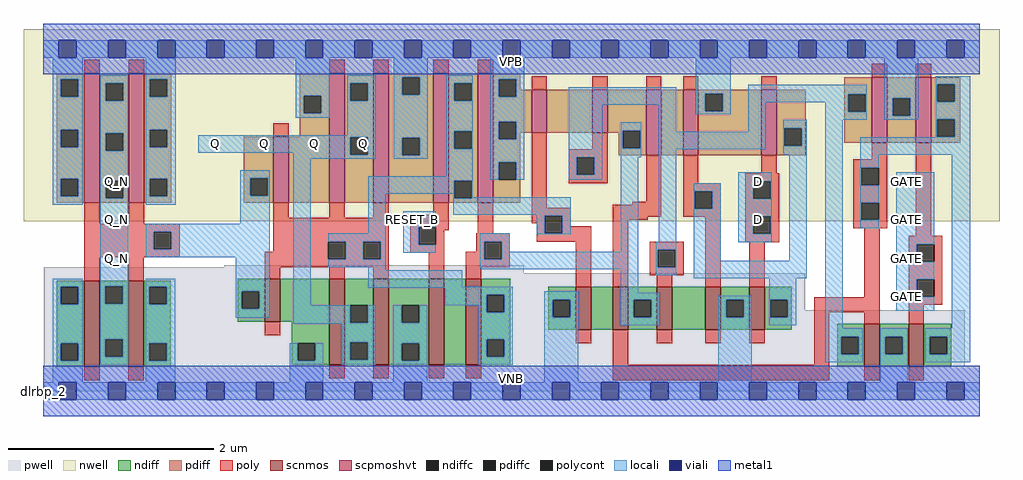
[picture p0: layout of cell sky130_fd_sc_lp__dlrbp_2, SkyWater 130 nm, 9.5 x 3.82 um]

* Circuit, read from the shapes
.subckt sky130_fd_sc_lp__dlrbp_2 D GATE RESET_B VGND VNB VPB VPWR Q Q_N
XM1 Q_N n1 VGND VNB sky130_fd_pr__nfet_01v8 w=0.84 l=0.15 m=2
XM2 VGND n2 n1 VNB sky130_fd_pr__nfet_01v8 w=0.42 l=0.15
XM3 Q n2 VGND VNB sky130_fd_pr__nfet_01v8 w=0.84 l=0.15 m=2
XM4 n3 RESET_B VGND VNB sky130_fd_pr__nfet_01v8 w=0.84 l=0.15
XM5 n2 n4 n3 VNB sky130_fd_pr__nfet_01v8 w=0.84 l=0.15
XM6 n5 n2 VGND VNB sky130_fd_pr__nfet_01v8 w=0.42 l=0.15
XM7 n4 n6 n5 VNB sky130_fd_pr__nfet_01v8 w=0.42 l=0.15
XM8 n7 n8 n4 VNB sky130_fd_pr__nfet_01v8 w=0.42 l=0.15
XM9 VGND n9 n7 VNB sky130_fd_pr__nfet_01v8 w=0.42 l=0.15
XM10 n9 D VGND VNB sky130_fd_pr__nfet_01v8 w=0.42 l=0.15
XM11 VGND n6 n8 VNB sky130_fd_pr__nfet_01v8 w=0.42 l=0.15
XM12 n6 GATE VGND VNB sky130_fd_pr__nfet_01v8 w=0.42 l=0.15
XM13 Q_N n1 VPWR VPB sky130_fd_pr__pfet_01v8_hvt w=1.26 l=0.15 m=2
XM14 VPWR n2 n1 VPB sky130_fd_pr__pfet_01v8_hvt w=0.64 l=0.15
XM15 Q n2 VPWR VPB sky130_fd_pr__pfet_01v8_hvt w=1.26 l=0.15 m=2
XM16 n2 RESET_B VPWR VPB sky130_fd_pr__pfet_01v8_hvt w=1.26 l=0.15
XM17 VPWR n4 n2 VPB sky130_fd_pr__pfet_01v8_hvt w=1.26 l=0.15
XM18 n10 n2 VPWR VPB sky130_fd_pr__pfet_01v8_hvt w=0.42 l=0.15
XM19 n4 n8 n10 VPB sky130_fd_pr__pfet_01v8_hvt w=0.42 l=0.15
XM20 n11 n6 n4 VPB sky130_fd_pr__pfet_01v8_hvt w=0.64 l=0.15
XM21 VPWR n9 n11 VPB sky130_fd_pr__pfet_01v8_hvt w=0.64 l=0.15
XM22 n9 D VPWR VPB sky130_fd_pr__pfet_01v8_hvt w=0.64 l=0.15
XM23 VPWR n6 n8 VPB sky130_fd_pr__pfet_01v8_hvt w=0.64 l=0.15
XM24 n6 GATE VPWR VPB sky130_fd_pr__pfet_01v8_hvt w=0.64 l=0.15
.ends

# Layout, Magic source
magic
tech sky130A
magscale 1 2
<< nwell >>
rect -38 331 1862 704
<< pwell >>
rect 353 241 936 245
rect 1 229 936 241
rect 1 157 1484 229
rect 1 49 1794 157
rect 0 0 1824 49
<< scnmos >>
rect 80 47 110 215
rect 166 47 196 215
rect 432 135 462 219
rect 557 51 587 219
rect 643 51 673 219
rect 751 51 781 219
rect 823 51 853 219
rect 1037 119 1067 203
rect 1109 119 1139 203
rect 1195 119 1225 203
rect 1289 119 1319 203
rect 1375 119 1405 203
rect 1599 47 1629 131
rect 1685 47 1715 131
<< scpmoshvt >>
rect 80 367 110 619
rect 167 367 197 619
rect 448 367 478 495
rect 557 367 587 619
rect 643 367 673 619
rect 760 367 790 619
rect 846 367 876 619
rect 951 503 981 587
rect 1069 503 1099 587
rect 1174 459 1204 587
rect 1246 459 1276 587
rect 1398 459 1428 587
rect 1613 483 1643 611
rect 1699 483 1729 611
<< ndiff >>
rect 27 203 80 215
rect 27 169 35 203
rect 69 169 80 203
rect 27 93 80 169
rect 27 59 35 93
rect 69 59 80 93
rect 27 47 80 59
rect 110 204 166 215
rect 110 170 121 204
rect 155 170 166 204
rect 110 101 166 170
rect 110 67 121 101
rect 155 67 166 101
rect 110 47 166 67
rect 196 203 249 215
rect 196 169 207 203
rect 241 169 249 203
rect 196 93 249 169
rect 379 194 432 219
rect 379 160 387 194
rect 421 160 432 194
rect 379 135 432 160
rect 462 135 557 219
rect 196 59 207 93
rect 241 59 249 93
rect 196 47 249 59
rect 484 93 557 135
rect 484 59 496 93
rect 530 59 557 93
rect 484 51 557 59
rect 587 167 643 219
rect 587 133 598 167
rect 632 133 643 167
rect 587 95 643 133
rect 587 61 598 95
rect 632 61 643 95
rect 587 51 643 61
rect 673 167 751 219
rect 673 133 698 167
rect 732 133 751 167
rect 673 93 751 133
rect 673 59 698 93
rect 732 59 751 93
rect 673 51 751 59
rect 781 51 823 219
rect 853 187 910 219
rect 853 153 864 187
rect 898 153 910 187
rect 853 101 910 153
rect 984 178 1037 203
rect 984 144 992 178
rect 1026 144 1037 178
rect 984 119 1037 144
rect 1067 119 1109 203
rect 1139 178 1195 203
rect 1139 144 1150 178
rect 1184 144 1195 178
rect 1139 119 1195 144
rect 1225 119 1289 203
rect 1319 178 1375 203
rect 1319 144 1330 178
rect 1364 144 1375 178
rect 1319 119 1375 144
rect 1405 178 1458 203
rect 1405 144 1416 178
rect 1450 144 1458 178
rect 1405 119 1458 144
rect 853 67 864 101
rect 898 67 910 101
rect 853 51 910 67
rect 1546 106 1599 131
rect 1546 72 1554 106
rect 1588 72 1599 106
rect 1546 47 1599 72
rect 1629 106 1685 131
rect 1629 72 1640 106
rect 1674 72 1685 106
rect 1629 47 1685 72
rect 1715 106 1768 131
rect 1715 72 1726 106
rect 1760 72 1768 106
rect 1715 47 1768 72
<< pdiff >>
rect 27 607 80 619
rect 27 573 35 607
rect 69 573 80 607
rect 27 509 80 573
rect 27 475 35 509
rect 69 475 80 509
rect 27 413 80 475
rect 27 379 35 413
rect 69 379 80 413
rect 27 367 80 379
rect 110 599 167 619
rect 110 565 122 599
rect 156 565 167 599
rect 110 502 167 565
rect 110 468 122 502
rect 156 468 167 502
rect 110 409 167 468
rect 110 375 122 409
rect 156 375 167 409
rect 110 367 167 375
rect 197 607 250 619
rect 197 573 208 607
rect 242 573 250 607
rect 197 509 250 573
rect 500 575 557 619
rect 500 541 508 575
rect 542 541 557 575
rect 197 475 208 509
rect 242 475 250 509
rect 500 495 557 541
rect 197 413 250 475
rect 197 379 208 413
rect 242 379 250 413
rect 197 367 250 379
rect 391 414 448 495
rect 391 380 403 414
rect 437 380 448 414
rect 391 367 448 380
rect 478 367 557 495
rect 587 599 643 619
rect 587 565 598 599
rect 632 565 643 599
rect 587 494 643 565
rect 587 460 598 494
rect 632 460 643 494
rect 587 367 643 460
rect 673 611 760 619
rect 673 577 699 611
rect 733 577 760 611
rect 673 493 760 577
rect 673 459 699 493
rect 733 459 760 493
rect 673 367 760 459
rect 790 599 846 619
rect 790 565 801 599
rect 835 565 846 599
rect 790 506 846 565
rect 790 472 801 506
rect 835 472 846 506
rect 790 409 846 472
rect 790 375 801 409
rect 835 375 846 409
rect 790 367 846 375
rect 876 607 929 619
rect 876 573 887 607
rect 921 587 929 607
rect 921 573 951 587
rect 876 524 951 573
rect 876 490 887 524
rect 921 503 951 524
rect 981 503 1069 587
rect 1099 507 1174 587
rect 1099 503 1129 507
rect 921 490 929 503
rect 876 445 929 490
rect 876 411 887 445
rect 921 411 929 445
rect 876 367 929 411
rect 1121 473 1129 503
rect 1163 473 1174 507
rect 1121 459 1174 473
rect 1204 459 1246 587
rect 1276 579 1398 587
rect 1276 545 1289 579
rect 1323 545 1398 579
rect 1276 459 1398 545
rect 1428 512 1485 587
rect 1428 478 1443 512
rect 1477 478 1485 512
rect 1560 578 1613 611
rect 1560 544 1568 578
rect 1602 544 1613 578
rect 1560 483 1613 544
rect 1643 570 1699 611
rect 1643 536 1654 570
rect 1688 536 1699 570
rect 1643 483 1699 536
rect 1729 597 1786 611
rect 1729 563 1741 597
rect 1775 563 1786 597
rect 1729 529 1786 563
rect 1729 495 1741 529
rect 1775 495 1786 529
rect 1729 483 1786 495
rect 1428 459 1485 478
<< ndiffc >>
rect 35 169 69 203
rect 35 59 69 93
rect 121 170 155 204
rect 121 67 155 101
rect 207 169 241 203
rect 387 160 421 194
rect 207 59 241 93
rect 496 59 530 93
rect 598 133 632 167
rect 598 61 632 95
rect 698 133 732 167
rect 698 59 732 93
rect 864 153 898 187
rect 992 144 1026 178
rect 1150 144 1184 178
rect 1330 144 1364 178
rect 1416 144 1450 178
rect 864 67 898 101
rect 1554 72 1588 106
rect 1640 72 1674 106
rect 1726 72 1760 106
<< pdiffc >>
rect 35 573 69 607
rect 35 475 69 509
rect 35 379 69 413
rect 122 565 156 599
rect 122 468 156 502
rect 122 375 156 409
rect 208 573 242 607
rect 508 541 542 575
rect 208 475 242 509
rect 208 379 242 413
rect 403 380 437 414
rect 598 565 632 599
rect 598 460 632 494
rect 699 577 733 611
rect 699 459 733 493
rect 801 565 835 599
rect 801 472 835 506
rect 801 375 835 409
rect 887 573 921 607
rect 887 490 921 524
rect 887 411 921 445
rect 1129 473 1163 507
rect 1289 545 1323 579
rect 1443 478 1477 512
rect 1568 544 1602 578
rect 1654 536 1688 570
rect 1741 563 1775 597
rect 1741 495 1775 529
<< poly >>
rect 80 619 110 645
rect 167 619 197 645
rect 557 619 587 645
rect 643 619 673 645
rect 760 619 790 645
rect 846 619 876 645
rect 448 495 478 521
rect 951 587 981 613
rect 1069 587 1099 613
rect 1174 587 1204 613
rect 1246 587 1276 613
rect 1398 587 1428 613
rect 1613 611 1643 637
rect 1699 611 1729 637
rect 80 326 110 367
rect 167 326 197 367
rect 448 337 478 367
rect 557 337 587 367
rect 643 337 673 367
rect 760 343 790 367
rect 80 310 266 326
rect 80 276 216 310
rect 250 276 266 310
rect 80 260 266 276
rect 448 291 673 337
rect 448 271 555 291
rect 80 215 110 260
rect 166 215 196 260
rect 432 257 555 271
rect 589 257 623 291
rect 657 257 673 291
rect 715 319 790 343
rect 715 285 731 319
rect 765 313 790 319
rect 765 285 781 313
rect 846 307 876 367
rect 951 357 981 503
rect 1069 471 1099 503
rect 1023 455 1099 471
rect 1023 421 1039 455
rect 1073 421 1099 455
rect 1023 405 1099 421
rect 1174 369 1204 459
rect 1147 363 1204 369
rect 951 341 1027 357
rect 951 327 977 341
rect 961 307 977 327
rect 1011 321 1027 341
rect 1109 339 1204 363
rect 1246 405 1276 459
rect 1398 424 1428 459
rect 1613 451 1643 483
rect 1577 435 1643 451
rect 1367 408 1433 424
rect 1246 389 1319 405
rect 1246 355 1269 389
rect 1303 355 1319 389
rect 1246 339 1319 355
rect 1109 333 1177 339
rect 1011 307 1067 321
rect 715 269 781 285
rect 843 291 909 307
rect 961 291 1067 307
rect 843 271 859 291
rect 432 241 673 257
rect 432 219 462 241
rect 557 219 587 241
rect 643 219 673 241
rect 751 219 781 269
rect 823 257 859 271
rect 893 257 909 291
rect 823 241 909 257
rect 823 219 853 241
rect 432 109 462 135
rect 1037 203 1067 291
rect 1109 203 1139 333
rect 1181 275 1247 291
rect 1181 241 1197 275
rect 1231 241 1247 275
rect 1181 225 1247 241
rect 1195 203 1225 225
rect 1289 203 1319 339
rect 1367 374 1383 408
rect 1417 374 1433 408
rect 1367 340 1433 374
rect 1367 306 1383 340
rect 1417 306 1433 340
rect 1577 401 1593 435
rect 1627 401 1643 435
rect 1577 367 1643 401
rect 1577 333 1593 367
rect 1627 333 1643 367
rect 1577 317 1643 333
rect 1367 290 1433 306
rect 1375 203 1405 290
rect 1599 183 1629 317
rect 1699 302 1729 483
rect 1501 153 1629 183
rect 1037 93 1067 119
rect 1109 51 1139 119
rect 1195 93 1225 119
rect 1289 93 1319 119
rect 1375 93 1405 119
rect 1501 51 1531 153
rect 1599 131 1629 153
rect 1685 286 1751 302
rect 1685 252 1701 286
rect 1735 252 1751 286
rect 1685 218 1751 252
rect 1685 184 1701 218
rect 1735 184 1751 218
rect 1685 168 1751 184
rect 1685 131 1715 168
rect 80 21 110 47
rect 166 21 196 47
rect 557 25 587 51
rect 643 25 673 51
rect 751 25 781 51
rect 823 25 853 51
rect 1109 21 1531 51
rect 1599 21 1629 47
rect 1685 21 1715 47
<< polycont >>
rect 216 276 250 310
rect 555 257 589 291
rect 623 257 657 291
rect 731 285 765 319
rect 1039 421 1073 455
rect 977 307 1011 341
rect 1269 355 1303 389
rect 859 257 893 291
rect 1197 241 1231 275
rect 1383 374 1417 408
rect 1383 306 1417 340
rect 1593 401 1627 435
rect 1593 333 1627 367
rect 1701 252 1735 286
rect 1701 184 1735 218
<< locali >>
rect 0 649 31 683
rect 65 649 127 683
rect 161 649 223 683
rect 257 649 319 683
rect 353 649 415 683
rect 449 649 511 683
rect 545 649 607 683
rect 641 649 703 683
rect 737 649 799 683
rect 833 649 895 683
rect 929 649 991 683
rect 1025 649 1087 683
rect 1121 649 1183 683
rect 1217 649 1279 683
rect 1313 649 1375 683
rect 1409 649 1471 683
rect 1505 649 1567 683
rect 1601 649 1663 683
rect 1697 649 1759 683
rect 1793 649 1824 683
rect 19 607 77 649
rect 19 573 35 607
rect 69 573 77 607
rect 19 509 77 573
rect 19 475 35 509
rect 69 475 77 509
rect 19 413 77 475
rect 19 379 35 413
rect 69 379 77 413
rect 19 363 77 379
rect 111 599 166 615
rect 111 565 122 599
rect 156 565 166 599
rect 111 502 166 565
rect 111 468 122 502
rect 156 468 166 502
rect 111 409 166 468
rect 111 375 122 409
rect 156 375 166 409
rect 19 203 77 219
rect 19 169 35 203
rect 69 169 77 203
rect 19 93 77 169
rect 19 59 35 93
rect 69 59 77 93
rect 19 17 77 59
rect 111 204 166 375
rect 200 607 258 649
rect 200 573 208 607
rect 242 573 258 607
rect 200 509 258 573
rect 492 575 558 649
rect 492 541 508 575
rect 542 541 558 575
rect 492 532 558 541
rect 592 599 648 615
rect 592 565 598 599
rect 632 565 648 599
rect 200 475 208 509
rect 242 475 258 509
rect 592 498 648 565
rect 200 413 258 475
rect 302 494 648 498
rect 302 464 598 494
rect 487 460 598 464
rect 632 460 648 494
rect 487 452 648 460
rect 683 611 749 649
rect 683 577 699 611
rect 733 577 749 611
rect 683 493 749 577
rect 683 459 699 493
rect 733 459 749 493
rect 683 452 749 459
rect 785 599 837 615
rect 785 565 801 599
rect 835 565 837 599
rect 785 506 837 565
rect 785 472 801 506
rect 835 472 837 506
rect 200 379 208 413
rect 242 379 258 413
rect 200 363 258 379
rect 384 414 441 430
rect 384 380 403 414
rect 437 380 441 414
rect 384 326 441 380
rect 200 310 441 326
rect 200 276 216 310
rect 250 276 441 310
rect 200 260 441 276
rect 111 170 121 204
rect 155 170 166 204
rect 111 101 166 170
rect 111 67 121 101
rect 155 67 166 101
rect 111 51 166 67
rect 200 203 257 219
rect 200 169 207 203
rect 241 169 257 203
rect 200 93 257 169
rect 375 194 441 260
rect 375 160 387 194
rect 421 160 441 194
rect 375 143 441 160
rect 487 167 521 452
rect 785 418 837 472
rect 633 409 837 418
rect 871 607 937 649
rect 871 573 887 607
rect 921 573 937 607
rect 871 524 937 573
rect 871 490 887 524
rect 921 490 937 524
rect 871 445 937 490
rect 871 411 887 445
rect 921 411 937 445
rect 1023 557 1233 591
rect 1023 455 1089 557
rect 1023 421 1039 455
rect 1073 421 1089 455
rect 1023 411 1089 421
rect 1125 507 1165 523
rect 1125 473 1129 507
rect 1163 473 1165 507
rect 1125 455 1165 473
rect 1199 505 1233 557
rect 1271 579 1339 649
rect 1271 545 1289 579
rect 1323 545 1339 579
rect 1271 539 1339 545
rect 1373 578 1604 596
rect 1373 562 1568 578
rect 1373 505 1407 562
rect 1523 544 1568 562
rect 1602 544 1604 578
rect 1523 528 1604 544
rect 1638 570 1704 649
rect 1638 536 1654 570
rect 1688 536 1704 570
rect 1638 528 1704 536
rect 1738 597 1805 613
rect 1738 563 1741 597
rect 1775 563 1805 597
rect 1738 529 1805 563
rect 1199 471 1407 505
rect 1441 512 1487 528
rect 1441 478 1443 512
rect 1477 478 1487 512
rect 633 384 801 409
rect 633 307 667 384
rect 799 375 801 384
rect 835 377 837 409
rect 835 375 1027 377
rect 555 291 667 307
rect 589 257 623 291
rect 657 257 667 291
rect 701 319 765 350
rect 799 343 1027 375
rect 701 285 731 319
rect 961 341 1027 343
rect 961 307 977 341
rect 1011 307 1027 341
rect 701 269 765 285
rect 850 291 909 307
rect 961 305 1027 307
rect 555 241 667 257
rect 633 235 667 241
rect 850 257 859 291
rect 893 271 909 291
rect 1125 271 1159 455
rect 1199 291 1233 471
rect 1441 460 1487 478
rect 1353 408 1419 426
rect 893 257 1159 271
rect 850 237 1159 257
rect 633 203 816 235
rect 633 201 914 203
rect 782 187 914 201
rect 782 167 864 187
rect 487 133 598 167
rect 632 133 648 167
rect 487 131 648 133
rect 582 95 648 131
rect 200 59 207 93
rect 241 59 257 93
rect 200 17 257 59
rect 480 59 496 93
rect 530 59 546 93
rect 480 17 546 59
rect 582 61 598 95
rect 632 61 648 95
rect 582 51 648 61
rect 682 133 698 167
rect 732 133 748 167
rect 682 93 748 133
rect 682 59 698 93
rect 732 59 748 93
rect 682 17 748 59
rect 848 153 864 167
rect 898 153 914 187
rect 848 101 914 153
rect 848 67 864 101
rect 898 67 914 101
rect 848 51 914 67
rect 976 178 1042 194
rect 976 144 992 178
rect 1026 144 1042 178
rect 976 17 1042 144
rect 1125 191 1159 237
rect 1193 275 1233 291
rect 1193 241 1197 275
rect 1231 241 1233 275
rect 1193 225 1233 241
rect 1267 389 1319 405
rect 1267 355 1269 389
rect 1303 355 1319 389
rect 1267 254 1319 355
rect 1353 374 1383 408
rect 1417 374 1419 408
rect 1353 340 1419 374
rect 1353 306 1383 340
rect 1417 306 1419 340
rect 1353 290 1419 306
rect 1453 254 1487 460
rect 1267 220 1487 254
rect 1125 178 1200 191
rect 1125 144 1150 178
rect 1184 144 1200 178
rect 1125 128 1200 144
rect 1314 178 1380 186
rect 1314 144 1330 178
rect 1364 144 1380 178
rect 1314 17 1380 144
rect 1414 178 1466 220
rect 1414 144 1416 178
rect 1450 144 1466 178
rect 1414 128 1466 144
rect 1523 122 1557 528
rect 1738 495 1741 529
rect 1775 495 1805 529
rect 1738 494 1805 495
rect 1591 460 1805 494
rect 1591 435 1627 460
rect 1591 401 1593 435
rect 1591 367 1627 401
rect 1591 333 1593 367
rect 1591 317 1627 333
rect 1661 286 1735 426
rect 1661 252 1701 286
rect 1661 218 1735 252
rect 1661 184 1701 218
rect 1661 156 1735 184
rect 1769 122 1805 460
rect 1523 106 1596 122
rect 1523 72 1554 106
rect 1588 72 1596 106
rect 1523 56 1596 72
rect 1630 106 1683 122
rect 1630 72 1640 106
rect 1674 72 1683 106
rect 1630 17 1683 72
rect 1717 106 1805 122
rect 1717 72 1726 106
rect 1760 72 1805 106
rect 1717 56 1805 72
rect 0 -17 31 17
rect 65 -17 127 17
rect 161 -17 223 17
rect 257 -17 319 17
rect 353 -17 415 17
rect 449 -17 511 17
rect 545 -17 607 17
rect 641 -17 703 17
rect 737 -17 799 17
rect 833 -17 895 17
rect 929 -17 991 17
rect 1025 -17 1087 17
rect 1121 -17 1183 17
rect 1217 -17 1279 17
rect 1313 -17 1375 17
rect 1409 -17 1471 17
rect 1505 -17 1567 17
rect 1601 -17 1663 17
rect 1697 -17 1759 17
rect 1793 -17 1824 17
<< viali >>
rect 31 649 65 683
rect 127 649 161 683
rect 223 649 257 683
rect 319 649 353 683
rect 415 649 449 683
rect 511 649 545 683
rect 607 649 641 683
rect 703 649 737 683
rect 799 649 833 683
rect 895 649 929 683
rect 991 649 1025 683
rect 1087 649 1121 683
rect 1183 649 1217 683
rect 1279 649 1313 683
rect 1375 649 1409 683
rect 1471 649 1505 683
rect 1567 649 1601 683
rect 1663 649 1697 683
rect 1759 649 1793 683
rect 31 -17 65 17
rect 127 -17 161 17
rect 223 -17 257 17
rect 319 -17 353 17
rect 415 -17 449 17
rect 511 -17 545 17
rect 607 -17 641 17
rect 703 -17 737 17
rect 799 -17 833 17
rect 895 -17 929 17
rect 991 -17 1025 17
rect 1087 -17 1121 17
rect 1183 -17 1217 17
rect 1279 -17 1313 17
rect 1375 -17 1409 17
rect 1471 -17 1505 17
rect 1567 -17 1601 17
rect 1663 -17 1697 17
rect 1759 -17 1793 17
<< metal1 >>
rect 0 683 1824 715
rect 0 649 31 683
rect 65 649 127 683
rect 161 649 223 683
rect 257 649 319 683
rect 353 649 415 683
rect 449 649 511 683
rect 545 649 607 683
rect 641 649 703 683
rect 737 649 799 683
rect 833 649 895 683
rect 929 649 991 683
rect 1025 649 1087 683
rect 1121 649 1183 683
rect 1217 649 1279 683
rect 1313 649 1375 683
rect 1409 649 1471 683
rect 1505 649 1567 683
rect 1601 649 1663 683
rect 1697 649 1759 683
rect 1793 649 1824 683
rect 0 617 1824 649
rect 0 17 1824 49
rect 0 -17 31 17
rect 65 -17 127 17
rect 161 -17 223 17
rect 257 -17 319 17
rect 353 -17 415 17
rect 449 -17 511 17
rect 545 -17 607 17
rect 641 -17 703 17
rect 737 -17 799 17
rect 833 -17 895 17
rect 929 -17 991 17
rect 1025 -17 1087 17
rect 1121 -17 1183 17
rect 1217 -17 1279 17
rect 1313 -17 1375 17
rect 1409 -17 1471 17
rect 1505 -17 1567 17
rect 1601 -17 1663 17
rect 1697 -17 1759 17
rect 1793 -17 1824 17
rect 0 -49 1824 -17
<< labels >>
flabel pwell s 0 0 1824 49 0 FreeSans 200 0 0 0 VNB
port 5 nsew ground bidirectional
flabel nwell s 0 617 1824 666 0 FreeSans 200 0 0 0 VPB
port 6 nsew power bidirectional
rlabel comment s 0 0 0 0 4 dlrbp_2
flabel metal1 s 0 617 1824 666 0 FreeSans 340 0 0 0 VPWR
port 7 nsew power bidirectional
flabel metal1 s 0 0 1824 49 0 FreeSans 340 0 0 0 VGND
port 4 nsew ground bidirectional
flabel locali s 319 464 353 498 0 FreeSans 340 0 0 0 Q
port 8 nsew signal output
flabel locali s 415 464 449 498 0 FreeSans 340 0 0 0 Q
port 8 nsew signal output
flabel locali s 511 464 545 498 0 FreeSans 340 0 0 0 Q
port 8 nsew signal output
flabel locali s 607 464 641 498 0 FreeSans 340 0 0 0 Q
port 8 nsew signal output
flabel locali s 127 242 161 276 0 FreeSans 340 0 0 0 Q_N
port 9 nsew signal output
flabel locali s 127 316 161 350 0 FreeSans 340 0 0 0 Q_N
port 9 nsew signal output
flabel locali s 127 390 161 424 0 FreeSans 340 0 0 0 Q_N
port 9 nsew signal output
flabel locali s 1375 316 1409 350 0 FreeSans 340 0 0 0 D
port 1 nsew signal input
flabel locali s 1375 390 1409 424 0 FreeSans 340 0 0 0 D
port 1 nsew signal input
flabel locali s 703 316 737 350 0 FreeSans 340 0 0 0 RESET_B
port 3 nsew signal input
flabel locali s 1663 168 1697 202 0 FreeSans 340 0 0 0 GATE
port 2 nsew clock input
flabel locali s 1663 242 1697 276 0 FreeSans 340 0 0 0 GATE
port 2 nsew clock input
flabel locali s 1663 316 1697 350 0 FreeSans 340 0 0 0 GATE
port 2 nsew clock input
flabel locali s 1663 390 1697 424 0 FreeSans 340 0 0 0 GATE
port 2 nsew clock input
<< properties >>
string LEFsite unit
string LEFclass CORE
string FIXED_BBOX 0 0 1824 666
string GDS_FILE $PDKPATH/libs.ref/sky130_fd_sc_lp/gds/sky130_fd_sc_lp.gds
string LEFsymmetry X Y R90
string GDS_END 4334612
string GDS_START 4320574
<< end >>
